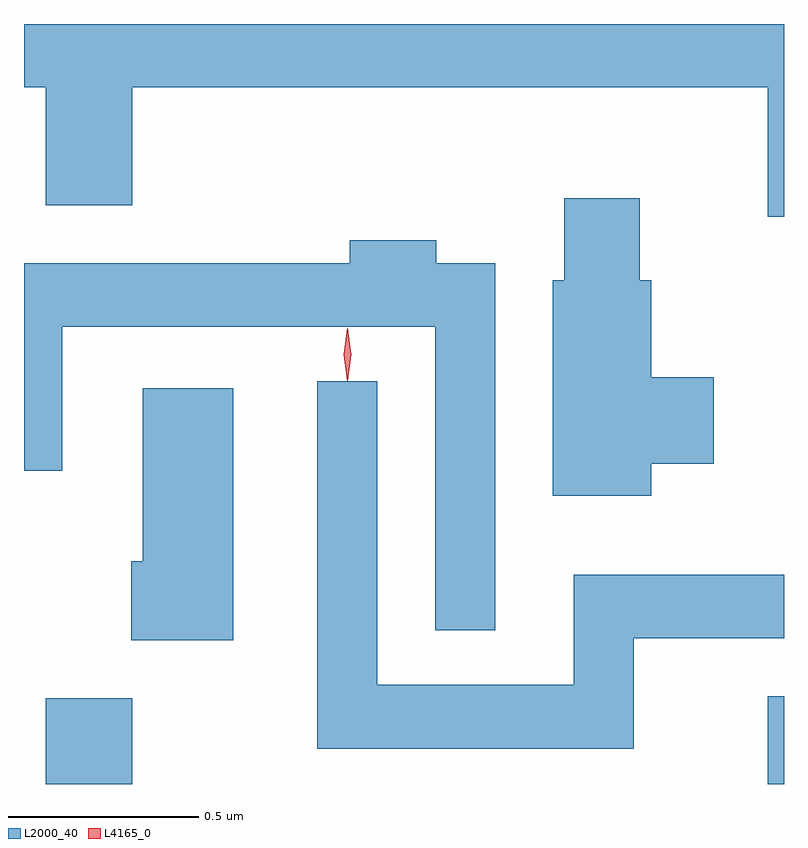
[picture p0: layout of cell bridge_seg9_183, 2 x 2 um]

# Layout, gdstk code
import gdstk
lib = gdstk.Library(unit=1e-6, precision=1e-09)
def R(c, l, rs):  # rectangles x0, y0, x1, y1
    for r in rs: c.add(gdstk.rectangle(r[:2], r[2:], *l))
def P(c, l, *ps):  # polygons
    for p in ps: c.add(gdstk.Polygon(p, *l))
L2000_40 = (2000, 40)
L4165_0 = (4165, 0)

bridge_seg9_183 = lib.new_cell('bridge_seg9_183')
R(bridge_seg9_183, L2000_40, [(1399.041,2069.903,1399.269,2070.129), (1400.941,2069.903,1400.984,2070.134)])
P(bridge_seg9_183, L2000_40, [(1400.984,2071.903),(1398.984,2071.903),(1398.984,2071.736),(1399.041,2071.736),(1399.041,2071.426),(1399.269,2071.426),(1399.269,2071.736),(1400.941,2071.736),(1400.941,2071.396),(1400.984,2071.396)],
  [(1400.634,2070.746),(1400.799,2070.746),(1400.799,2070.974),(1400.634,2070.974),(1400.634,2071.229),(1400.604,2071.229),(1400.604,2071.444),(1400.406,2071.444),(1400.406,2071.229),(1400.376,2071.229),(1400.376,2070.661),(1400.634,2070.661)],
  [(1400.224,2071.274),(1400.069,2071.274),(1400.069,2071.334),(1399.841,2071.334),(1399.841,2071.274),(1398.984,2071.274),(1398.984,2070.728),(1399.084,2070.728),(1399.084,2071.106),(1400.066,2071.106),(1400.066,2070.308),(1400.224,2070.308)],
  [(1400.589,2070.286),(1400.984,2070.286),(1400.984,2070.454),(1400.431,2070.454),(1400.431,2070.164),(1399.914,2070.164),(1399.914,2070.963),(1399.756,2070.963),(1399.756,2069.996),(1400.589,2069.996)],
  [(1399.534,2070.944),(1399.296,2070.944),(1399.296,2070.489),(1399.266,2070.489),(1399.266,2070.281),(1399.534,2070.281)])
P(bridge_seg9_183, L4165_0, [(1399.835,2070.963),(1399.834,2070.964),(1399.825,2071.033),(1399.834,2071.102),(1399.835,2071.103),(1399.836,2071.102),(1399.845,2071.033),(1399.836,2070.964)],
  [(1399.835,2070.967),(1399.834,2070.968),(1399.825,2071.034),(1399.834,2071.1),(1399.835,2071.101),(1399.836,2071.1),(1399.845,2071.034),(1399.836,2070.968)])

lib.write_gds('bridge_seg9_183.gds')
